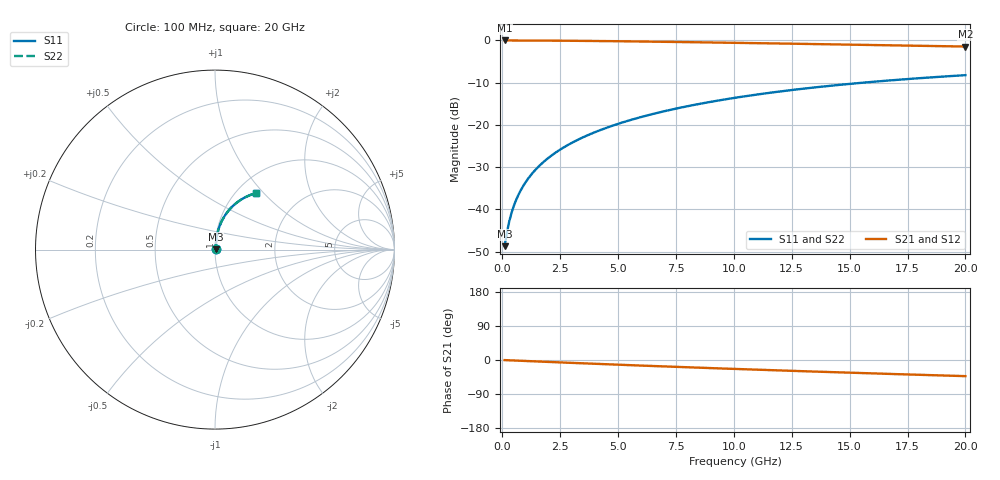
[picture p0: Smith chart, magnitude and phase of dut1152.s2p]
! Touchstone file exported from HFSS 2024.1.0
!  File:  C:/UserFiles/LocalFiles/RDL_TSV_Batchsim/temp_RDL_bottom_1152_1780056099.aedt
!  Generated:  08:03:50 PM May 29, 2026
!  Design:  RDL_bottom
!  Project:  temp_RDL_bottom_1152_1780056099
!  Setup:  Setup1
!  Solution:  Sweep
! Variables:
!  dtsv = 10.80580581um
!  hbump = 3um
!  htsv = 65.98um
!  ldown = 618.1um
!  lrdl = 100um
!  p = 40
!  p1 = 45.72um
!  rhole = 1um
!  t = 450um
!  tdown = 4.21um
!  trdl = 3.915915916um
!  wdown = 18.63um
!  wrdl = 20um
# GHz S MA R 50.000000
! Terminal data exported
! Port[1] = RDL1_T1
! Port[2] = RDL1_T2
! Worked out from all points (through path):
!   200 points, 100 MHz to 20 GHz, reference 50 ohm
!   highest |S21| = -0.03 dB at 100 MHz (marker M1); lowest = -1.5 dB at 20 GHz (marker M2)
!   group delay of S21, straight-line fit = 5.88 ps
!   lowest |S11| = -48.7 dB at 100 MHz (marker M3), VSWR 1.01, Z = 50.3 + j0.223 ohm
!   |S11| at or under -10 dB: start of sweep to 15.6 GHz
!   |S22| runs from -48.7 to -8.2 dB; largest |S21 - S12| = 3.5e-15
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0.1  0.003677 37.0  0.9971 -0.3  0.9971 -0.3  0.003677 37.0
! Gamma 0 0 0 0
! Port Impedance 50 0 50 0
0.2  0.005339 54.9  0.9969 -0.5  0.9969 -0.5  0.005339 54.9
0.3  0.007215 63.4  0.9967 -0.8  0.9967 -0.8  0.007216 63.4
0.4  0.009134 68.3  0.9965 -1.0  0.9965 -1.0  0.009134 68.3
0.5  0.01106 71.5  0.9964 -1.3  0.9964 -1.3  0.01106 71.5
0.6  0.013 73.7  0.9962 -1.6  0.9962 -1.6  0.013 73.7
0.8  0.0169 76.8  0.9959 -2.1  0.9959 -2.1  0.0169 76.8
1.1  0.02282 79.4  0.9953 -2.8  0.9953 -2.8  0.02282 79.4
1.3  0.0268 80.5  0.9948 -3.3  0.9948 -3.3  0.0268 80.5
1.6  0.03282 81.5  0.994 -4.1  0.994 -4.1  0.03282 81.5
2.1  0.04291 82.3  0.9924 -5.3  0.9924 -5.3  0.04291 82.3
2.7  0.05514 82.6  0.9899 -6.8  0.9899 -6.8  0.05514 82.6
3.5  0.0716 82.3  0.9858 -8.8  0.9858 -8.8  0.0716 82.3
4.2  0.08614 81.8  0.9816 -10.5  0.9816 -10.5  0.08614 81.8
5  0.1029 80.9  0.9763 -12.4  0.9763 -12.4  0.1029 80.9
5.9  0.1219 79.7  0.9697 -14.5  0.9697 -14.5  0.1219 79.7
6.8  0.1409 78.4  0.9627 -16.5  0.9627 -16.5  0.1409 78.4
8.4  0.1748 75.7  0.9495 -20.1  0.9495 -20.1  0.1747 75.7
10.1  0.2102 72.7  0.9347 -23.7  0.9347 -23.7  0.2102 72.7
13.4  0.2758 66.4  0.9048 -30.4  0.9048 -30.4  0.2757 66.4
16.7  0.3352 60.1  0.8745 -36.7  0.8745 -36.7  0.3351 60.1
20  0.3874 54.2  0.8445 -42.6  0.8445 -42.6  0.3873 54.2
